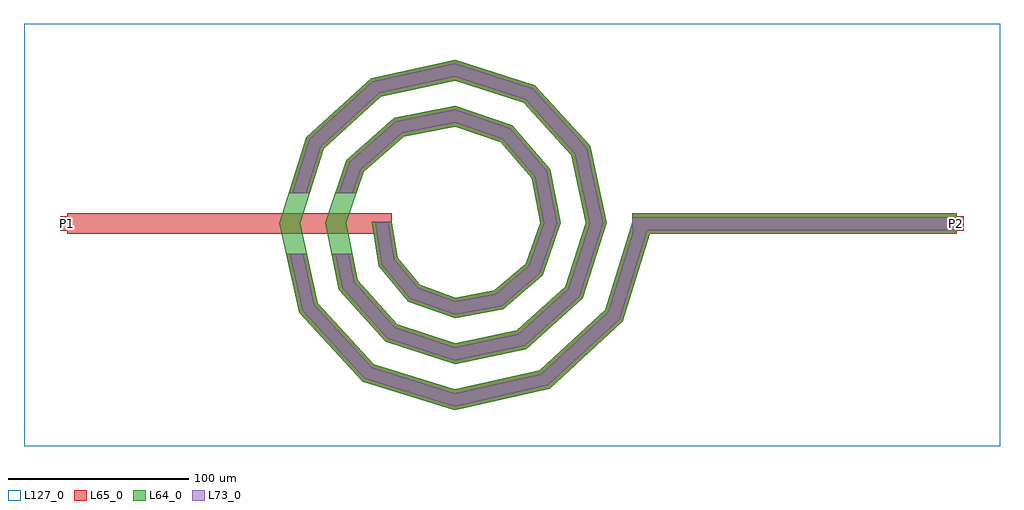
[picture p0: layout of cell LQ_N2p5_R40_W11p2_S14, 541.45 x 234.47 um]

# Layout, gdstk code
import gdstk
lib = gdstk.Library(unit=1e-6, precision=1e-09)
def R(c, l, rs):  # rectangles x0, y0, x1, y1
    for r in rs: c.add(gdstk.rectangle(r[:2], r[2:], *l))
def P(c, l, *ps):  # polygons
    for p in ps: c.add(gdstk.Polygon(p, *l))
L64_0 = (64, 0)
L65_0 = (65, 0)
L73_0 = (73, 0)
L127_0 = (127, 0)

lq_n2p5_r40_w11p2_s14 = lib.new_cell('LQ_N2p5_R40_W11p2_S14')
R(lq_n2p5_r40_w11p2_s14, L64_0, [(98.587,-5.6,278.587,5.6)])
P(lq_n2p5_r40_w11p2_s14, L64_0, [(-31.609,-18.87),(-19.022,-33.972),(0.489,-41.054),(21.994,-37.158),(39.455,-22.261),(47.422,0.431),(42.7,25.132),(25.489,44.946),(0.385,53.792),(-28.28,48.239),(-50.443,28.708),(-60.163,0.348),(-53.773,-31.435),(-31.922,-55.944),(0.317,-66.534),(34.596,-59.305),(61.449,-35.131),(72.906,0.292),(64.835,37.761),(38.337,66.955),(0.27,79.277),(-40.929,70.364),(-72.463,41.54),(-85.649,0.251),(-75.891,-44.099),(-44.741,-77.973),(0.235,-92.021),(47.272,-81.417),(83.484,-47.94),(98.838,1.656),(109.537,-1.656),(93.294,-54.123),(52.667,-91.682),(0.235,-103.608),(-50.95,-87.767),(-86.17,-49.467),(-97.235,0.251),(-82.24,47.778),(-46.265,80.66),(0.27,90.862),(44.608,76.71),(75.151,43.06),(84.488,0.292),(71.179,-41.441),(39.852,-69.643),(0.317,-78.114),(-38.278,-65.645),(-64.137,-36.64),(-71.74,0.348),(-60.109,35.119),(-33.423,58.634),(0.385,65.365),(31.966,54.568),(53.135,30.199),(58.99,0.431),(49.022,-28.821),(26.964,-47.64),(0.489,-52.614),(-25.688,-43.467),(-42.151,-23.715),(-45.984,0.929),(-34.939,0.929)])
R(lq_n2p5_r40_w11p2_s14, L65_0, [(-214.861,-5.6,-34.861,5.6), (98.587,-5.6,278.587,5.6), (-218.861,-4,-210.861,4), (274.587,-4,282.587,4)])
P(lq_n2p5_r40_w11p2_s14, L65_0, [(-75.891,-44.099),(-44.741,-77.973),(0.235,-92.021),(47.272,-81.417),(83.484,-47.94),(98.838,1.656),(109.537,-1.656),(93.294,-54.123),(52.667,-91.682),(0.235,-103.608),(-50.95,-87.768),(-86.17,-49.467),(-93.44,-16.8),(-81.966,-16.8)],
  [(-53.773,-31.435),(-31.922,-55.945),(0.317,-66.534),(34.596,-59.305),(61.449,-35.131),(72.906,0.292),(64.835,37.761),(38.337,66.955),(0.27,79.277),(-40.929,70.364),(-72.464,41.54),(-80.269,16.8),(-92.014,16.8),(-82.24,47.778),(-46.265,80.66),(0.27,90.862),(44.608,76.71),(75.151,43.06),(84.488,0.292),(71.179,-41.441),(39.852,-69.643),(0.317,-78.114),(-38.278,-65.645),(-64.138,-36.641),(-68.216,-16.8),(-56.781,-16.8)],
  [(-19.022,-33.972),(0.489,-41.054),(21.994,-37.158),(39.455,-22.261),(47.423,0.431),(42.701,25.132),(25.489,44.946),(0.385,53.792),(-28.28,48.239),(-50.443,28.708),(-54.427,16.8),(-66.237,16.8),(-60.109,35.119),(-33.423,58.634),(0.385,65.366),(31.966,54.568),(53.135,30.199),(58.99,0.431),(49.022,-28.821),(26.964,-47.64),(0.489,-52.614),(-25.688,-43.467),(-42.151,-23.715),(-45.984,0.929),(-34.939,0.929),(-31.609,-18.871)])
R(lq_n2p5_r40_w11p2_s14, L73_0, [(98.587,-3.6,278.587,3.6)])
P(lq_n2p5_r40_w11p2_s14, L73_0, [(-77.727,-45.058),(-45.85,-79.722),(0.151,-94.09),(48.235,-83.25),(85.236,-49.044),(100.748,1.065),(107.626,-1.065),(91.543,-53.019),(51.704,-89.849),(0.151,-101.539),(-49.841,-86.019),(-84.335,-48.509),(-91.391,-16.8),(-84.015,-16.8)],
  [(-55.624,-32.365),(-33.057,-57.677),(0.204,-68.602),(35.535,-61.151),(63.186,-36.258),(74.974,0.188),(66.677,38.707),(39.457,68.697),(0.174,81.346),(-41.882,72.202),(-74.209,42.654),(-82.366,16.8),(-89.916,16.8),(-80.494,46.664),(-45.312,78.821),(0.174,88.793),(43.488,74.968),(73.309,42.114),(82.42,0.188),(69.441,-40.315),(38.914,-67.797),(0.204,-76.046),(-37.143,-63.913),(-62.287,-35.711),(-66.174,-16.8),(-58.823,-16.8)],
  [(-20.212,-35.667),(0.315,-43.118),(22.881,-39.03),(41.163,-23.432),(49.488,0.277),(44.564,26.037),(26.645,46.665),(0.248,55.859),(-29.198,50.095),(-52.169,29.853),(-56.536,16.8),(-64.128,16.8),(-58.383,33.974),(-32.505,56.778),(0.248,63.299),(30.809,52.85),(51.272,29.294),(56.925,0.277),(47.314,-27.65),(26.077,-45.768),(0.315,-50.549),(-24.497,-41.772),(-40.269,-22.85),(-44.011,0.597),(-36.911,0.597),(-33.491,-19.736)])
R(lq_n2p5_r40_w11p2_s14, L127_0, [(-238.861,-123.608,302.587,110.862)])
lq_n2p5_r40_w11p2_s14.add(gdstk.Label('P2', (278.587,0), layer=65, texttype=0))
lq_n2p5_r40_w11p2_s14.add(gdstk.Label('P1', (-214.861,0), layer=65, texttype=0))
lq_n2p5_r40_w11p2_s14.add(gdstk.Label('P2', (282.587,0), layer=145, texttype=0))
lq_n2p5_r40_w11p2_s14.add(gdstk.Label('P1', (-218.861,0), layer=145, texttype=0))

lib.write_gds('LQ_N2p5_R40_W11p2_S14.gds')
